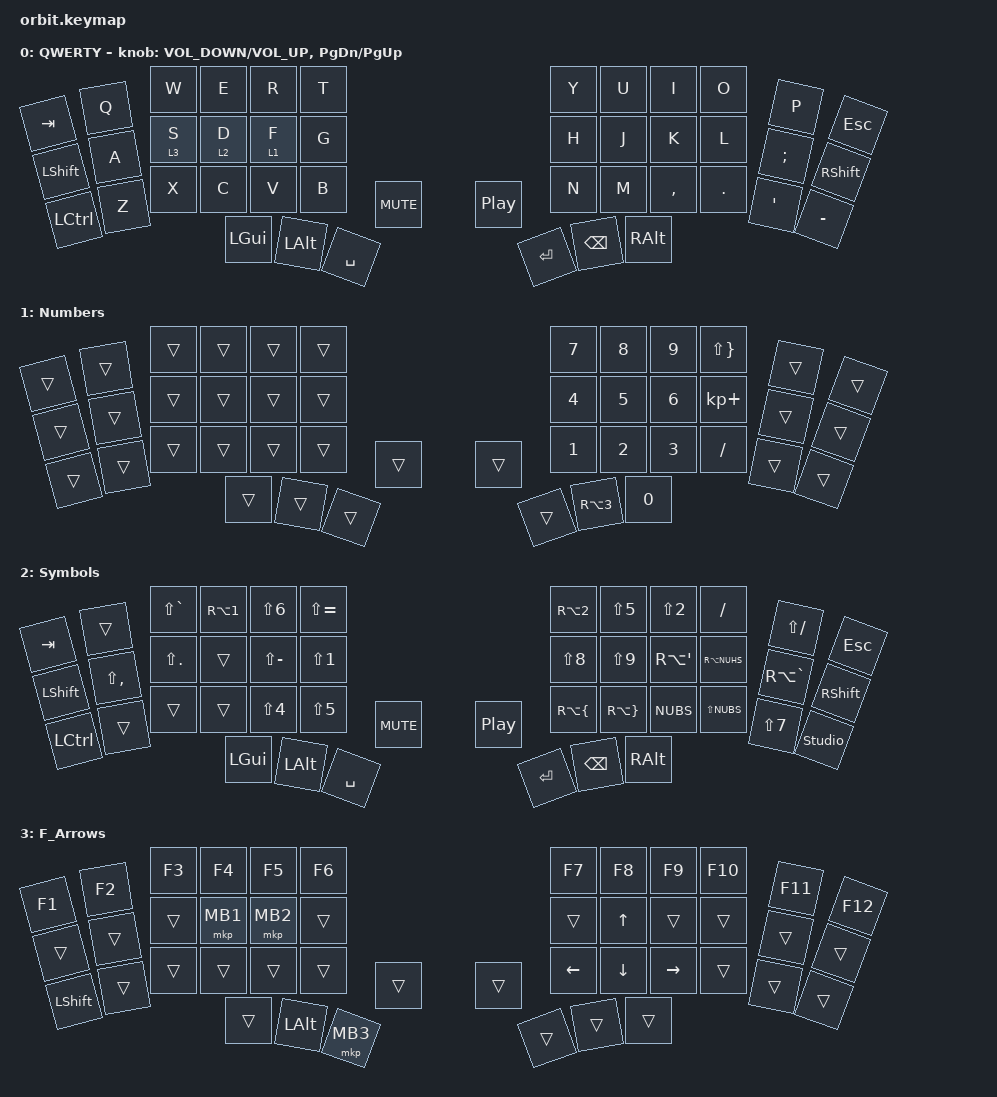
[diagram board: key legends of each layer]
#include <behaviors.dtsi>
#include <dt-bindings/zmk/keys.h>
#include <dt-bindings/zmk/pointing.h>

/ {
    keymap {
        compatible = "zmk,keymap";

        Default_layer {
            display-name = "QWERTY";
            bindings = <
&kp TAB           &kp Q  &kp W    &kp E         &kp R         &kp T                            &kp Y       &kp U          &kp I      &kp O    &kp P     &kp ESCAPE
&kp LSHFT         &kp A  &lt 3 S  &lt 2 D       &lt 1 F       &kp G                            &kp H       &kp J          &kp K      &kp L    &kp SEMI  &kp RSHFT
&kp LEFT_CONTROL  &kp Z  &kp X    &kp C         &kp V         &kp B                            &kp N       &kp M          &kp COMMA  &kp DOT  &kp APOS  &kp MINUS
                                  &kp LEFT_GUI  &kp LEFT_ALT  &kp SPACE  &kp C_MUTE  &kp C_PP  &kp RETURN  &kp BACKSPACE  &kp RALT
            >;

            sensor-bindings =
                <&inc_dec_kp C_VOLUME_DOWN C_VOLUME_UP>,
                <&inc_dec_kp PG_DN PG_UP>;
        };

        Num_layer {
            display-name = "Numbers";
            bindings = <
&trans  &trans  &trans  &trans  &trans  &trans                  &kp N7  &kp N8      &kp N9  &kp LS(RBRC)  &trans  &trans
&trans  &trans  &trans  &trans  &trans  &trans                  &kp N4  &kp N5      &kp N6  &kp KP_PLUS   &trans  &trans
&trans  &trans  &trans  &trans  &trans  &trans                  &kp N1  &kp N2      &kp N3  &kp FSLH      &trans  &trans
                        &trans  &trans  &trans  &trans  &trans  &trans  &kp RA(N3)  &kp N0
            >;
        };

        Symbols {
            display-name = "Symbols";
            bindings = <
&kp TAB           &trans         &kp LS(GRAVE)  &kp RA(N1)    &kp LS(N6)     &kp LS(EQUAL)                        &kp RA(N2)          &kp LS(N5)           &kp LS(N2)    &kp FSLH      &kp LS(FSLH)   &kp ESCAPE
&kp LSHFT         &kp LS(COMMA)  &kp LS(DOT)    &trans        &kp LS(MINUS)  &kp LS(N1)                           &kp LS(N8)          &kp LS(N9)           &kp RA(APOS)  &kp RA(NUHS)  &kp RA(GRAVE)  &kp RSHFT
&kp LEFT_CONTROL  &trans         &trans         &trans        &kp LS(N4)     &kp LS(N5)                           &kp RA(LEFT_BRACE)  &kp RA(RIGHT_BRACE)  &kp NUBS      &kp LS(NUBS)  &kp LS(N7)     &studio_unlock
                                                &kp LEFT_GUI  &kp LEFT_ALT   &kp SPACE      &kp C_MUTE  &kp C_PP  &kp RETURN          &kp BACKSPACE        &kp RALT
            >;
        };

        F_Arrows {
            display-name = "F_Arrows";
            bindings = <
&kp F1          &kp F2  &kp F3  &kp F4    &kp F5    &kp F6                    &kp F7          &kp F8          &kp F9           &kp F10  &kp F11  &kp F12
&trans          &trans  &trans  &mkp MB1  &mkp MB2  &trans                    &trans          &kp UP_ARROW    &trans           &trans   &trans   &trans
&kp LEFT_SHIFT  &trans  &trans  &trans    &trans    &trans                    &kp LEFT_ARROW  &kp DOWN_ARROW  &kp RIGHT_ARROW  &trans   &trans   &trans
                                &trans    &kp LALT  &mkp MB3  &trans  &trans  &trans          &trans          &trans
            >;
        };
    };
};
